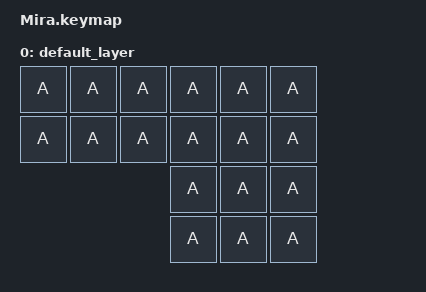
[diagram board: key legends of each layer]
#include <behaviors.dtsi>
#include <dt-bindings/zmk/keys.h>
#include <dt-bindings/zmk/bt.h>

/ {
	keymap {
		compatible = "zmk,keymap";

        default_layer {
        	bindings = <
		// |---------|---------|---------|---------|---------|---------|
		// |    A    |    A    |    A    |    A    |    A    |    A    |
			&kp A     &kp A     &kp A     &kp A     &kp A     &kp A
		// |---------|---------|---------|---------|---------|---------|
		// |    A    |    A    |    A    |    A    |    A    |    A    |
			&kp A     &kp A     &kp A     &kp A     &kp A     &kp A
		// |---------|---------|---------|---------|---------|---------|
		//                               |    A    |    A    |    A    |
			                              &kp A     &kp A     &kp A
		//                               |---------|---------|---------|
		//                               |    A    |    A    |    A    |
			                              &kp A     &kp A     &kp A
		//                               |---------|---------|---------|
            >;

        };
    };
};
